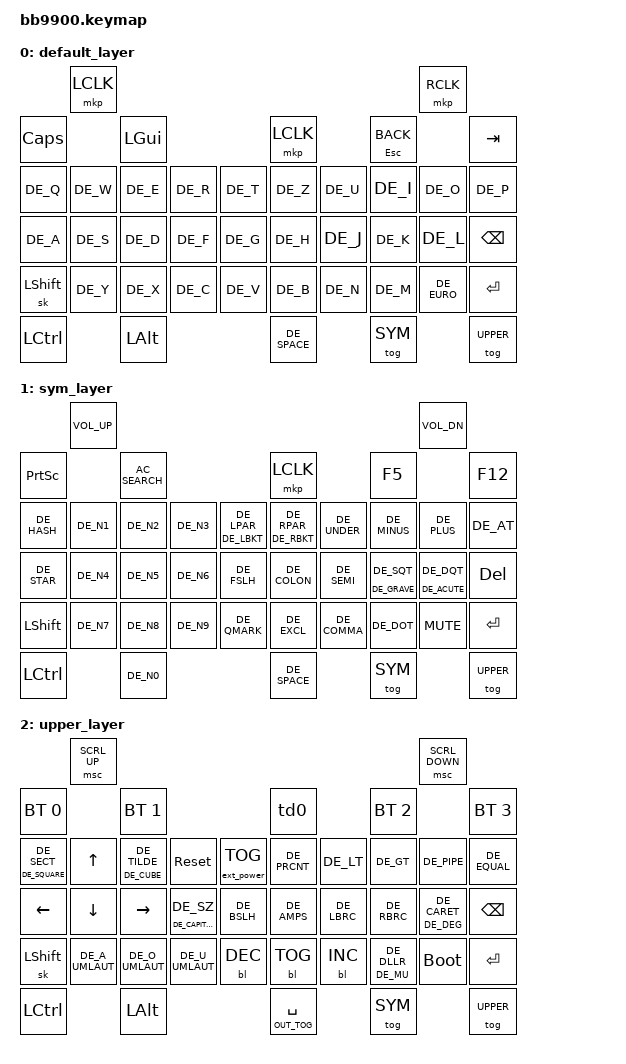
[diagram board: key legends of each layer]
/*
 * Copyright (c) 2023 ZitaoTech
 * Copyright (c) 2024 nift4
 *
 * SPDX-License-Identifier: MIT
 */
   
#include <behaviors.dtsi>
#include <dt-bindings/zmk/keys.h>
#include <dt-bindings/zmk/bt.h>
#include <dt-bindings/zmk/outputs.h>
#include <dt-bindings/zmk/mouse.h>
#include <dt-bindings/zmk/backlight.h>
#include <dt-bindings/zmk/ext_power.h>
#include "keys_de.h"


#define SYM 1
#define UPPER 2

&sk{
    release-after-ms = <2500>;
};

/ {
    behaviors {
        td0: tap_dance_0 {
            compatible = "zmk,behavior-tap-dance";
            #binding-cells = <0>;
            tapping-term-ms = <400>;
            bindings = <&mkp LCLK>, <&bt BT_CLR>;
        };
    };
    behaviors {
        hm: homerow_mods {
            compatible = "zmk,behavior-hold-tap";
            #binding-cells = <2>;
            tapping-term-ms = <500>;
            bindings = <&out &kp>;
        };
    };

    keymap {
        compatible = "zmk,keymap";

        default_layer {

            bindings = <
//         --------------------------------------------------------------------------------------------------------------------------         
//         |    Shoulder Key1    |                                                                             |    Shoulder Key2    |     
// |         Call key      |      Blackberry Key        |    Trackpad    |             Back Key                |             Endcall Key          |
// |     Q      |     W    |     E    |     R    |      T      |       Y        |       U        |        I        |       O      |      P        |     
// |     A      |     S    |     D    |     F    |      G      |       H        |       J        |        K        |       L      |      ←        |  
// |     alt    |     Z    |     X    |     C    |      V      |       B        |       N        |        M        |       $      |    Enter      |   
//        |         aA     |         0           |           SPACE              |         SYM         |        aA          |       
//        -----------------------------------------------------------------------------------------------------------------

                 &mkp LCLK                                                                                          &mkp RCLK
    &kp CLCK                &kp LGUI                            &mkp LCLK                          &mt ESC K_BACK                    &kp TAB
    &kp DE_Q     &kp DE_W   &kp DE_E    &kp DE_R  &kp DE_T      &kp DE_Z          &kp DE_U         &kp DE_I         &kp DE_O         &kp DE_P
    &kp DE_A     &kp DE_S   &kp DE_D    &kp DE_F  &kp DE_G      &kp DE_H          &kp DE_J         &kp DE_K         &kp DE_L         &kp BSPC
    &sk LSHIFT   &kp DE_Y   &kp DE_X    &kp DE_C  &kp DE_V      &kp DE_B          &kp DE_N         &kp DE_M         &kp DE_EURO      &kp ENTER
    &kp LCTRL               &kp LALT                            &kp DE_SPACE                       &tog SYM                          &tog UPPER
            >;
        };


        sym_layer {

            bindings = <        
                 &kp C_VOL_UP                                                                                       &kp C_VOL_DN
    &kp PSCRN               &kp C_AC_SEARCH                     &mkp LCLK                          &kp F5                            &kp F12 
    &kp DE_HASH  &kp DE_N1  &kp DE_N2   &kp DE_N3 &mt DE_LBKT DE_LPAR &mt DE_RBKT DE_RPAR &kp DE_UNDER &kp DE_MINUS &kp DE_PLUS      &kp DE_AT
    &kp DE_STAR  &kp DE_N4  &kp DE_N5   &kp DE_N6 &kp DE_FSLH   &kp DE_COLON      &kp DE_SEMI      &mt DE_GRAVE DE_SQT &mt DE_ACUTE DE_DQT &kp DEL
    &kp LSHFT    &kp DE_N7  &kp DE_N8   &kp DE_N9 &kp DE_QMARK  &kp DE_EXCL       &kp DE_COMMA     &kp DE_DOT       &kp C_MUTE       &kp ENTER
    &kp LCTRL               &kp DE_N0                           &kp DE_SPACE                       &tog SYM                          &tog UPPER
            >;
        };

        upper_layer {

            bindings = <
                 &msc SCRL_UP                                                                                       &msc SCRL_DOWN
    &bt BT_SEL 0            &bt BT_SEL 1                             &td0                           &bt BT_SEL 2                     &bt BT_SEL 3
    &mt DE_SQUARE DE_SECT &kp UP &mt DE_CUBE DE_TILDE &sys_reset &ext_power EP_TOG &kp DE_PRCNT &kp DE_LT &kp DE_GT &kp DE_PIPE      &kp DE_EQUAL
    &kp LEFT     &kp DOWN   &kp RIGHT   &mt DE_CAPITAL_SZ DE_SZ &kp DE_BSLH &kp DE_AMPS &kp DE_LBRC &kp DE_RBRC     &mt DE_DEG DE_CARET &kp BSPC
    &sk LSHIFT   &kp DE_A_UMLAUT &kp DE_O_UMLAUT &kp DE_U_UMLAUT &bl BL_DEC &bl BL_TOG &bl BL_INC   &mt DE_MU DE_DLLR &bootloader    &kp ENTER
    &kp LCTRL               &kp LALT                                 &hm OUT_TOG SPACE              &tog SYM                         &tog UPPER
            >;
        };
    };
};

